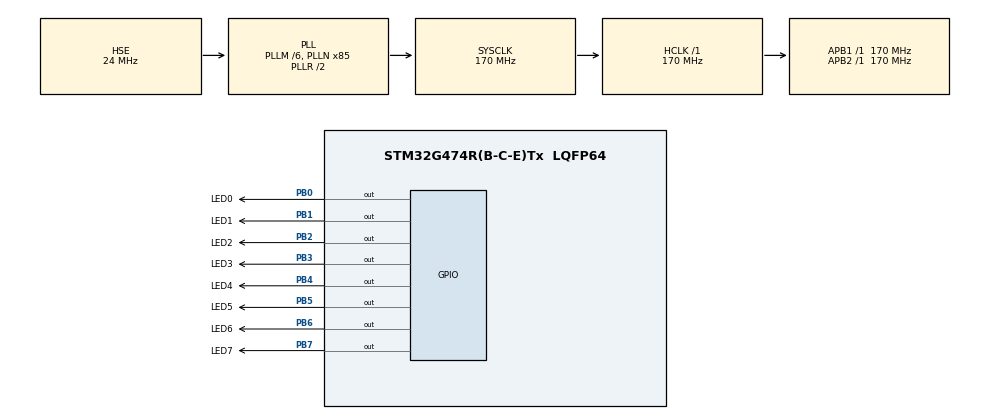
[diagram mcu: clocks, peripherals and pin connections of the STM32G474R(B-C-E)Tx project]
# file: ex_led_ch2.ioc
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Mcu.Family=STM32G4
RCC.CortexFreq_Value=170000000
PB2.GPIO_Speed=GPIO_SPEED_FREQ_HIGH
PB0.GPIO_Label=LED0
PB6.GPIO_Label=LED6
PB3.GPIO_Speed=GPIO_SPEED_FREQ_HIGH
RCC.SYSCLKSource=RCC_SYSCLKSOURCE_PLLCLK
ProjectManager.StackSize=0x400
PB0.PinState=GPIO_PIN_SET
PB3.PinState=GPIO_PIN_SET
PB1.GPIO_PuPd=GPIO_PULLUP
RCC.HCLKFreq_Value=170000000
RCC.APB2TimFreq_Value=170000000
PB6.Signal=GPIO_Output
PB5.PinState=GPIO_PIN_SET
RCC.AHBFreq_Value=170000000
RCC.HSE_VALUE=24000000
PB2.Signal=GPIO_Output
RCC.ADC12Freq_Value=170000000
PB3.GPIO_PuPd=GPIO_PULLUP
PB1.GPIO_Speed=GPIO_SPEED_FREQ_HIGH
PA14.Mode=Serial_Wire
PB1.GPIO_Label=LED1
VP_SYS_VS_DBSignals.Mode=DisableDeadBatterySignals
PB7.Signal=GPIO_Output
PB2.GPIO_PuPd=GPIO_PULLUP
PB7.PinState=GPIO_PIN_SET
PB1.PinState=GPIO_PIN_SET
PB7.GPIO_Label=LED7
Mcu.Package=LQFP64
PB1.Signal=GPIO_Output
PB6.GPIO_ModeDefaultOutputPP=GPIO_MODE_OUTPUT_PP
PB5.GPIO_Speed=GPIO_SPEED_FREQ_HIGH
PB5.GPIO_Label=LED5
RCC.APB1TimFreq_Value=170000000
PB0.GPIO_ModeDefaultOutputPP=GPIO_MODE_OUTPUT_PP
PF1-OSC_OUT.Mode=HSE-External-Oscillator
PB2.GPIO_ModeDefaultOutputPP=GPIO_MODE_OUTPUT_PP
PB4.PinState=GPIO_PIN_SET
PF1-OSC_OUT.Signal=RCC_OSC_OUT
RCC.HSI48_VALUE=48000000
PB4.Signal=GPIO_Output
PB4.GPIO_ModeDefaultOutputPP=GPIO_MODE_OUTPUT_PP
PB7.GPIO_Speed=GPIO_SPEED_FREQ_HIGH
PB3.GPIO_Label=LED3
PB7.GPIO_PuPd=GPIO_PULLUP
RCC.PLLSourceVirtual=RCC_PLLSOURCE_HSE
PB5.GPIO_ModeDefaultOutputPP=GPIO_MODE_OUTPUT_PP
PB6.GPIO_PuPd=GPIO_PULLUP
RCC.EXTERNAL_CLOCK_VALUE=12288000
PB0.GPIO_Speed=GPIO_SPEED_FREQ_HIGH
PA13.Signal=SYS_JTMS-SWDIO
ProjectManager.TargetToolchain=STM32CubeIDE
PB4.GPIO_PuPd=GPIO_PULLUP
RCC.USBFreq_Value=170000000
RCC.LSE_VALUE=32768
PF0-OSC_IN.Mode=HSE-External-Oscillator
board=custom
RCC.VCOOutputFreq_Value=340000000
RCC.ADC345Freq_Value=170000000
PB4.GPIO_Speed=GPIO_SPEED_FREQ_HIGH
RCC.APB2Freq_Value=170000000
PB4.GPIO_Label=LED4
PB7.GPIO_ModeDefaultOutputPP=GPIO_MODE_OUTPUT_PP
PA13.Mode=Serial_Wire
PB2.PinState=GPIO_PIN_SET
Mcu.Name=STM32G474R(B-C-E)Tx
PB3.Signal=GPIO_Output
RCC.SYSCLKFreq_VALUE=170000000
PB5.Signal=GPIO_Output
PB5.GPIO_PuPd=GPIO_PULLUP
PB6.PinState=GPIO_PIN_SET
PA14.Signal=SYS_JTCK-SWCLK
PB2.GPIO_Label=LED2
ProjectManager.HeapSize=0x200
RCC.HSI_VALUE=16000000
NVIC.PriorityGroup=NVIC_PRIORITYGROUP_4
RCC.PLLM=RCC_PLLM_DIV6
RCC.PLLN=85
PF0-OSC_IN.Signal=RCC_OSC_IN
PB1.GPIO_ModeDefaultOutputPP=GPIO_MODE_OUTPUT_PP
PB6.GPIO_Speed=GPIO_SPEED_FREQ_HIGH
RCC.APB1Freq_Value=170000000
PB0.Signal=GPIO_Output
PB0.GPIO_PuPd=GPIO_PULLUP
PB3.GPIO_ModeDefaultOutputPP=GPIO_MODE_OUTPUT_PP

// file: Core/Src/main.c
/* USER CODE BEGIN Header */
/**
  ******************************************************************************
  * @file           : main.c
  * @brief          : Main program body
  ******************************************************************************
  * @attention
  *
  * <h2><center>&copy; Copyright (c) 2022 STMicroelectronics.
  * All rights reserved.</center></h2>
  *
  * This software component is licensed by ST under BSD 3-Clause license,
  * the "License"; You may not use this file except in compliance with the
  * License. You may obtain a copy of the License at:
  *                        opensource.org/licenses/BSD-3-Clause
  *
  ******************************************************************************
  */
/* USER CODE END Header */
#include "main.h"

void SystemClock_Config(void);
static void MX_GPIO_Init(void);

int main(void)
{

  /* MCU Configuration--------------------------------------------------------*/

  /* Reset of all peripherals, Initializes the Flash interface and the Systick. */
  HAL_Init();

  /* Configure the system clock */
  SystemClock_Config();

  /* Initialize all configured peripherals */
  MX_GPIO_Init();

  /* Infinite loop */
  while (1)
  {

    /* USER CODE BEGIN 3 */
	  // 2.1
//	  HAL_GPIO_TogglePin(LED0_GPIO_Port, LED0_Pin);
//	  HAL_GPIO_TogglePin(LED1_GPIO_Port, LED1_Pin);
//	  HAL_GPIO_TogglePin(LED2_GPIO_Port, LED2_Pin);
//	  HAL_GPIO_TogglePin(LED3_GPIO_Port, LED3_Pin);
//	  HAL_GPIO_TogglePin(LED4_GPIO_Port, LED4_Pin);
//	  HAL_GPIO_TogglePin(LED5_GPIO_Port, LED5_Pin);
//	  HAL_GPIO_TogglePin(LED6_GPIO_Port, LED6_Pin);
//	  HAL_GPIO_TogglePin(LED7_GPIO_Port, LED7_Pin);
//	  HAL_Delay(500);
	  // 2.2
//	  HAL_GPIO_WritePin(LED0_GPIO_Port, LED0_Pin, GPIO_PIN_RESET);
//	  HAL_GPIO_WritePin(LED1_GPIO_Port, LED1_Pin, GPIO_PIN_RESET);
//	  HAL_GPIO_WritePin(LED2_GPIO_Port, LED2_Pin, GPIO_PIN_RESET);
//	  HAL_GPIO_WritePin(LED3_GPIO_Port, LED3_Pin, GPIO_PIN_RESET);
//	  HAL_GPIO_WritePin(LED4_GPIO_Port, LED4_Pin, GPIO_PIN_RESET);
//	  HAL_GPIO_WritePin(LED5_GPIO_Port, LED5_Pin, GPIO_PIN_RESET);
//	  HAL_GPIO_WritePin(LED6_GPIO_Port, LED6_Pin, GPIO_PIN_RESET);
//	  HAL_GPIO_WritePin(LED7_GPIO_Port, LED7_Pin, GPIO_PIN_RESET);
//	  HAL_Delay(100);
//	  HAL_GPIO_WritePin(LED0_GPIO_Port, LED0_Pin, GPIO_PIN_SET);
//	  HAL_GPIO_WritePin(LED1_GPIO_Port, LED1_Pin, GPIO_PIN_SET);
//	  HAL_GPIO_WritePin(LED2_GPIO_Port, LED2_Pin, GPIO_PIN_SET);
//	  HAL_GPIO_WritePin(LED3_GPIO_Port, LED3_Pin, GPIO_PIN_SET);
//	  HAL_GPIO_WritePin(LED4_GPIO_Port, LED4_Pin, GPIO_PIN_SET);
//	  HAL_GPIO_WritePin(LED5_GPIO_Port, LED5_Pin, GPIO_PIN_SET);
//	  HAL_GPIO_WritePin(LED6_GPIO_Port, LED6_Pin, GPIO_PIN_SET);
//	  HAL_GPIO_WritePin(LED7_GPIO_Port, LED7_Pin, GPIO_PIN_SET);
//	  HAL_Delay(100);
	  // 2.3
	  // 2.4
//	  uint8_t led_num = 0x01;
//	  for (uint8_t i=0;i<8;i++)
//	  {
//	  HAL_GPIO_WritePin(GPIOB,led_num,GPIO_PIN_RESET);
//	  HAL_Delay(500);
//	  HAL_GPIO_WritePin(GPIOB,led_num,GPIO_PIN_SET);
//	  HAL_Delay(500);
//	  led_num <<= 1;
//	  }
	  // 2.5
//	  uint8_t led_num = 0x01;
//	  uint8_t i = 0;
//	  for (i=0;i<8;i++)
//	  {
//	  HAL_GPIO_WritePin(GPIOB,led_num,GPIO_PIN_RESET);
//	  HAL_Delay(100);
//	  HAL_GPIO_WritePin(GPIOB,led_num,GPIO_PIN_SET);
//	  HAL_Delay(100);
//	  led_num <<= 1;
//	  }
//	  led_num = 0x80;
//	  for (i=0;i<8;i++)
//	  {
//	  HAL_GPIO_WritePin(GPIOB,led_num,GPIO_PIN_RESET);
//	  HAL_Delay(100);
//	  HAL_GPIO_WritePin(GPIOB,led_num,GPIO_PIN_SET);
//	  HAL_Delay(100);
//	  led_num >>= 1;
	  // 2.6
//	  uint8_t led_num = 0x01;
//	  uint8_t i = 0;
//	  for (i=0;i<8;i++)
//	  {
//	  HAL_GPIO_WritePin(GPIOB,led_num,GPIO_PIN_RESET);
//	  HAL_Delay(100);
//	  led_num <<= 1;
//	  }
//	  led_num = 0x80;
//	  for (i=0;i<8;i++)
//	  {
//	  HAL_GPIO_WritePin(GPIOB,led_num,GPIO_PIN_SET);
//	  HAL_Delay(100);
//	  led_num >>= 1;
//	  }
	  // 2.7
	  uint8_t led_num = 0x01;
	  uint8_t i = 0;
	  uint16_t time_array[8] = {500, 450, 400, 350, 300, 250, 200, 150};
	  for (i=0;i<8;i++)
	  {
		  HAL_GPIO_WritePin(GPIOB,led_num, GPIO_PIN_RESET);
		  HAL_Delay(time_array[i]);
		  HAL_GPIO_WritePin(GPIOB,led_num, GPIO_PIN_SET);
		  HAL_Delay(time_array[i]);
		  led_num <<= 1;
	  }
	  led_num = 0x80;
	  for (i=7;i>=0;i--)
	  {
		  HAL_GPIO_WritePin(GPIOB,led_num, GPIO_PIN_RESET);
		  HAL_Delay(time_array[i]);
		  HAL_GPIO_WritePin(GPIOB,led_num, GPIO_PIN_SET);
		  HAL_Delay(time_array[i]);
		  led_num >>= 1;
	  }
  }
  /* USER CODE END 3 */
}

void SystemClock_Config(void)
{
  RCC_OscInitTypeDef RCC_OscInitStruct = {0};
  RCC_ClkInitTypeDef RCC_ClkInitStruct = {0};

  /** Configure the main internal regulator output voltage
  */
  HAL_PWREx_ControlVoltageScaling(PWR_REGULATOR_VOLTAGE_SCALE1_BOOST);
  /** Initializes the RCC Oscillators according to the specified parameters
  * in the RCC_OscInitTypeDef structure.
  */
  RCC_OscInitStruct.OscillatorType = RCC_OSCILLATORTYPE_HSE;
  RCC_OscInitStruct.HSEState = RCC_HSE_ON;
  RCC_OscInitStruct.PLL.PLLState = RCC_PLL_ON;
  RCC_OscInitStruct.PLL.PLLSource = RCC_PLLSOURCE_HSE;
  RCC_OscInitStruct.PLL.PLLM = RCC_PLLM_DIV6;
  RCC_OscInitStruct.PLL.PLLN = 85;
  RCC_OscInitStruct.PLL.PLLP = RCC_PLLP_DIV2;
  RCC_OscInitStruct.PLL.PLLQ = RCC_PLLQ_DIV2;
  RCC_OscInitStruct.PLL.PLLR = RCC_PLLR_DIV2;
  if (HAL_RCC_OscConfig(&RCC_OscInitStruct) != HAL_OK)
  {
    Error_Handler();
  }
  /** Initializes the CPU, AHB and APB buses clocks
  */
  RCC_ClkInitStruct.ClockType = RCC_CLOCKTYPE_HCLK|RCC_CLOCKTYPE_SYSCLK
                              |RCC_CLOCKTYPE_PCLK1|RCC_CLOCKTYPE_PCLK2;
  RCC_ClkInitStruct.SYSCLKSource = RCC_SYSCLKSOURCE_PLLCLK;
  RCC_ClkInitStruct.AHBCLKDivider = RCC_SYSCLK_DIV1;
  RCC_ClkInitStruct.APB1CLKDivider = RCC_HCLK_DIV1;
  RCC_ClkInitStruct.APB2CLKDivider = RCC_HCLK_DIV1;

  if (HAL_RCC_ClockConfig(&RCC_ClkInitStruct, FLASH_LATENCY_4) != HAL_OK)
  {
    Error_Handler();
  }
}

static void MX_GPIO_Init(void)
{
  GPIO_InitTypeDef GPIO_InitStruct = {0};

  /* GPIO Ports Clock Enable */
  __HAL_RCC_GPIOF_CLK_ENABLE();
  __HAL_RCC_GPIOB_CLK_ENABLE();
  __HAL_RCC_GPIOA_CLK_ENABLE();

  /*Configure GPIO pin Output Level */
  HAL_GPIO_WritePin(GPIOB, LED0_Pin|LED1_Pin|LED2_Pin|LED3_Pin
                          |LED4_Pin|LED5_Pin|LED6_Pin|LED7_Pin, GPIO_PIN_SET);

  /*Configure GPIO pins : LED0_Pin LED1_Pin LED2_Pin LED3_Pin
                           LED4_Pin LED5_Pin LED6_Pin LED7_Pin */
  GPIO_InitStruct.Pin = LED0_Pin|LED1_Pin|LED2_Pin|LED3_Pin
                          |LED4_Pin|LED5_Pin|LED6_Pin|LED7_Pin;
  GPIO_InitStruct.Mode = GPIO_MODE_OUTPUT_PP;
  GPIO_InitStruct.Pull = GPIO_PULLUP;
  GPIO_InitStruct.Speed = GPIO_SPEED_FREQ_HIGH;
  HAL_GPIO_Init(GPIOB, &GPIO_InitStruct);

}

void Error_Handler(void)
{
  __disable_irq();
  while (1)
  {
  }
}

/************************ (C) COPYRIGHT STMicroelectronics *****END OF FILE****/
